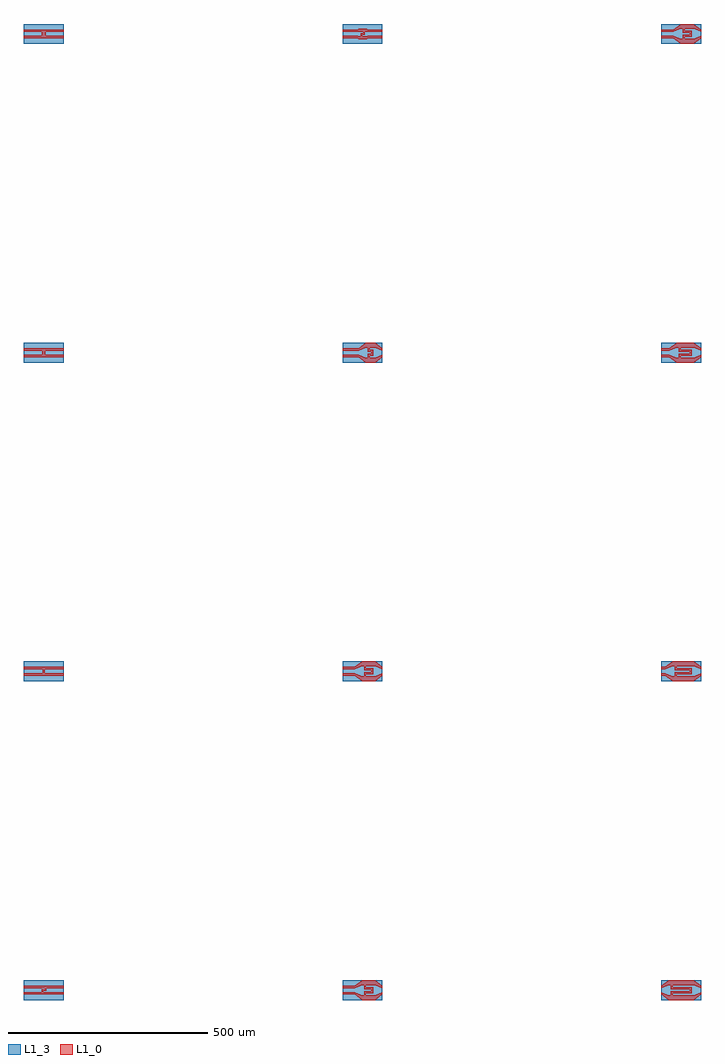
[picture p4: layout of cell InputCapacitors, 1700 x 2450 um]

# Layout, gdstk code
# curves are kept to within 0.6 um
import gdstk
lib = gdstk.Library(unit=1e-6, precision=1e-09)
def R(c, l, rs):  # rectangles x0, y0, x1, y1
    for r in rs: c.add(gdstk.rectangle(r[:2], r[2:], *l))
def P(c, l, *ps):  # polygons
    for p in ps: c.add(gdstk.Polygon(p, *l))
L1_0 = (1, 0)
L1_3 = (1, 3)

cin2 = lib.new_cell('Cin2')
R(cin2, L1_0, [(-50,-11,50,-5), (-50,-11,50,-5), (-3.75,-5,3.75,5), (-50,5,50,11), (-50,5,50,11)])
R(cin2, L1_3, [(-50,-25,50,25)])

cin1 = lib.new_cell('Cin1')
R(cin1, L1_0, [(-50,-11,50,-5), (-5,-5,5,5), (-50,5,50,11)])
R(cin1, L1_3, [(-50,-25,50,25)])

cin3 = lib.new_cell('Cin3')
R(cin3, L1_0, [(-50,-11,50,-5), (-50,-11,50,-5), (-2.5,-5,2.5,5), (-50,5,50,11), (-50,5,50,11)])
R(cin3, L1_3, [(-50,-25,50,25)])

cin4 = lib.new_cell('Cin4')
R(cin4, L1_0, [(-50,-11,50,-5), (-50,5,50,11)])
P(cin4, L1_0, [(-5,-5),(-5,2),(2,2),(2,5),(6,5),(6,-2),(-1,-2),(-1,-5)])
R(cin4, L1_3, [(-50,-25,50,25)])

cin5 = lib.new_cell('Cin5')
R(cin5, L1_0, [(-10,-12.842,11,-6), (-10,6,11,12.842)])
P(cin5, L1_0, [(-5,-6),(-5,2),(2,2),(2,6),(6,6),(6,-2),(-1,-2),(-1,-6)],
  [(13.414,5),(11,6),(11,12.842),(13.414,11),(50,11),(50,5)],
  [(11,-12.841),(11,-6),(13.414,-5),(50,-5),(50,-11),(13.414,-11)],
  [(-10,-12.841),(-12.414,-11),(-50,-11),(-50,-5),(-12.414,-5),(-10,-6)],
  [(-50,5),(-50,11),(-12.414,11),(-10,12.842),(-10,6),(-12.414,5)])
R(cin5, L1_3, [(-50,-25,50,25)])

cin6 = lib.new_cell('Cin6')
P(cin6, L1_0, [(8.78,-25),(-9.44,-11),(-50,-11),(-50,-5),(-9.44,-5),(8.78,-12.5),(13.78,-12.5),(13.78,-2.5),(21.78,-2.5),(21.78,2.5),(13.78,2.5),(13.78,12.5),(8.78,12.5),(-9.44,5),(-50,5),(-50,11),(-9.44,11),(8.78,25),(31.78,25),(50,11),(50,5),(31.78,12.5),(18.78,12.5),(18.78,7.5),(26.78,7.5),(26.78,-7.5),(18.78,-7.5),(18.78,-12.5),(31.78,-12.5),(50,-5),(50,-11),(31.78,-25)])
R(cin6, L1_3, [(-50,-25,50,25)])

cin7 = lib.new_cell('Cin7')
P(cin7, L1_0, [(-1.22,-25),(-19.44,-11),(-50,-11),(-50,-5),(-19.44,-5),(-1.22,-12.5),(3.78,-12.5),(3.78,-2.5),(21.78,-2.5),(21.78,2.5),(3.78,2.5),(3.78,12.5),(-1.22,12.5),(-19.44,5),(-50,5),(-50,11),(-19.44,11),(-1.22,25),(31.78,25),(50,11),(50,5),(31.78,12.5),(8.78,12.5),(8.78,7.5),(26.78,7.5),(26.78,-7.5),(8.78,-7.5),(8.78,-12.5),(31.78,-12.5),(50,-5),(50,-11),(31.78,-25)])
R(cin7, L1_3, [(-50,-25,50,25)])

cin8 = lib.new_cell('Cin8')
P(cin8, L1_0, [(-1.22,-25),(-19.44,-11),(-50,-11),(-50,-5),(-19.44,-5),(-1.22,-12.5),(3.78,-12.5),(3.78,-2.5),(21.78,-2.5),(21.78,2.5),(3.78,2.5),(3.78,12.5),(-1.22,12.5),(-19.44,5),(-50,5),(-50,11),(-19.44,11),(-1.22,25),(31.78,25),(50,11),(50,5),(31.78,12.5),(8.78,12.5),(8.78,7.5),(26.78,7.5),(26.78,-7.5),(8.78,-7.5),(8.78,-12.5),(31.78,-12.5),(50,-5),(50,-11),(31.78,-25)])
R(cin8, L1_3, [(-50,-25,50,25)])

cin9 = lib.new_cell('Cin9')
P(cin9, L1_0, [(-1.22,-25),(-19.44,-11),(-50,-11),(-50,-5),(-19.44,-5),(-1.22,-12.5),(3.78,-12.5),(3.78,-2.5),(21.78,-2.5),(21.78,2.5),(3.78,2.5),(3.78,12.5),(-1.22,12.5),(-19.44,5),(-50,5),(-50,11),(-19.44,11),(-1.22,25),(31.78,25),(50,11),(50,5),(31.78,12.5),(8.78,12.5),(8.78,7.5),(26.78,7.5),(26.78,-7.5),(8.78,-7.5),(8.78,-12.5),(31.78,-12.5),(50,-5),(50,-11),(31.78,-25)])
R(cin9, L1_3, [(-50,-25,50,25)])

cin10 = lib.new_cell('Cin10')
P(cin10, L1_0, [(-11.22,-25),(-29.44,-11),(-50,-11),(-50,-5),(-29.44,-5),(-11.22,-12.5),(-6.22,-12.5),(-6.22,-2.5),(21.78,-2.5),(21.78,2.5),(-6.22,2.5),(-6.22,12.5),(-11.22,12.5),(-29.44,5),(-50,5),(-50,11),(-29.44,11),(-11.22,25),(31.78,25),(50,11),(50,5),(31.78,12.5),(-1.22,12.5),(-1.22,7.5),(26.78,7.5),(26.78,-7.5),(-1.22,-7.5),(-1.22,-12.5),(31.78,-12.5),(50,-5),(50,-11),(31.78,-25)])
R(cin10, L1_3, [(-50,-25,50,25)])

cin11 = lib.new_cell('Cin11')
P(cin11, L1_0, [(-21.22,-25),(-39.44,-11),(-50,-11),(-50,-5),(-39.44,-5),(-21.22,-12.5),(-16.22,-12.5),(-16.22,-2.5),(21.78,-2.5),(21.78,2.5),(-16.22,2.5),(-16.22,12.5),(-21.22,12.5),(-39.44,5),(-50,5),(-50,11),(-39.44,11),(-21.22,25),(31.78,25),(50,11),(50,5),(31.78,12.5),(-11.22,12.5),(-11.22,7.5),(26.78,7.5),(26.78,-7.5),(-11.22,-7.5),(-11.22,-12.5),(31.78,-12.5),(50,-5),(50,-11),(31.78,-25)])
R(cin11, L1_3, [(-50,-25,50,25)])

cin12 = lib.new_cell('Cin12')
P(cin12, L1_0, [(-31.22,-25),(-50,-11),(-50,-5),(-31.22,-12.5),(-26.22,-12.5),(-26.22,-2.5),(21.78,-2.5),(21.78,2.5),(-26.22,2.5),(-26.22,12.5),(-31.22,12.5),(-50,5),(-50,11),(-31.22,25),(31.78,25),(50,11),(50,5),(31.78,12.5),(-21.22,12.5),(-21.22,7.5),(26.78,7.5),(26.78,-7.5),(-21.22,-7.5),(-21.22,-12.5),(31.78,-12.5),(50,-5),(50,-11),(31.78,-25)])
R(cin12, L1_3, [(-50,-25,50,25)])

inputcapacitors = lib.new_cell('InputCapacitors')
inputcapacitors.add(gdstk.Reference(cin2, (-800,400)))
inputcapacitors.add(gdstk.Reference(cin1, (-800,1200)))
inputcapacitors.add(gdstk.Reference(cin3, (-800,-400)))
inputcapacitors.add(gdstk.Reference(cin4, (-800,-1200)))
inputcapacitors.add(gdstk.Reference(cin5, (0,1200)))
inputcapacitors.add(gdstk.Reference(cin6, (0,400)))
inputcapacitors.add(gdstk.Reference(cin7, (0,-400)))
inputcapacitors.add(gdstk.Reference(cin8, (0,-1200)))
inputcapacitors.add(gdstk.Reference(cin9, (800,1200)))
inputcapacitors.add(gdstk.Reference(cin10, (800,400)))
inputcapacitors.add(gdstk.Reference(cin11, (800,-400)))
inputcapacitors.add(gdstk.Reference(cin12, (800,-1200)))

lib.write_gds('InputCapacitors.gds')
